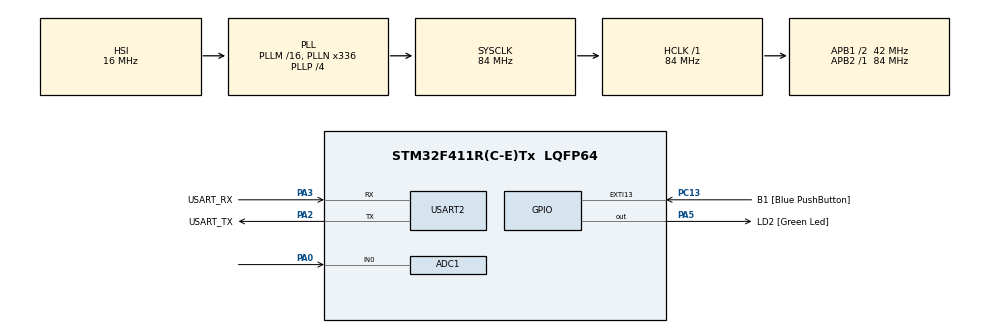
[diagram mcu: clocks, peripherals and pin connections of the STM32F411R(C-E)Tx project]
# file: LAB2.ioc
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ADC1.Channel-1\#ChannelRegularConversion=ADC_CHANNEL_0
ADC1.Channel-2\#ChannelRegularConversion=ADC_CHANNEL_TEMPSENSOR
ADC1.ContinuousConvMode=ENABLE
ADC1.DMAContinuousRequests=ENABLE
ADC1.EOCSelection=ADC_EOC_SEQ_CONV
ADC1.NbrOfConversion=2
ADC1.NbrOfConversionFlag=1
ADC1.Rank-1\#ChannelRegularConversion=1
ADC1.Rank-2\#ChannelRegularConversion=2
ADC1.SamplingTime-1\#ChannelRegularConversion=ADC_SAMPLETIME_112CYCLES
ADC1.SamplingTime-2\#ChannelRegularConversion=ADC_SAMPLETIME_112CYCLES
ADC1.ScanConvMode=ENABLE
ADC1.master=1
Dma.ADC1.0.Direction=DMA_PERIPH_TO_MEMORY
Dma.ADC1.0.FIFOMode=DMA_FIFOMODE_DISABLE
Dma.ADC1.0.Instance=DMA2_Stream0
Dma.ADC1.0.MemDataAlignment=DMA_MDATAALIGN_HALFWORD
Dma.ADC1.0.MemInc=DMA_MINC_ENABLE
Dma.ADC1.0.Mode=DMA_CIRCULAR
Dma.ADC1.0.PeriphDataAlignment=DMA_PDATAALIGN_HALFWORD
Dma.ADC1.0.PeriphInc=DMA_PINC_DISABLE
Dma.ADC1.0.Priority=DMA_PRIORITY_LOW
Dma.Request0=ADC1
Mcu.Family=STM32F4
Mcu.Name=STM32F411R(C-E)Tx
Mcu.Package=LQFP64
NVIC.ADC_IRQn=true\:0\:0\:false\:false\:true\:true\:true\:true
NVIC.DMA2_Stream0_IRQn=true\:0\:0\:false\:false\:true\:false\:true\:true
NVIC.PriorityGroup=NVIC_PRIORITYGROUP_0
PA0-WKUP.Signal=ADCx_IN0
PA13.GPIO_Label=TMS
PA13.Mode=Serial_Wire
PA13.Signal=SYS_JTMS-SWDIO
PA14.GPIO_Label=TCK
PA14.Mode=Serial_Wire
PA14.Signal=SYS_JTCK-SWCLK
PA2.GPIO_Label=USART_TX
PA2.Mode=Asynchronous
PA2.Signal=USART2_TX
PA3.GPIO_Label=USART_RX
PA3.Mode=Asynchronous
PA3.Signal=USART2_RX
PA5.GPIO_Label=LD2 [Green Led]
PA5.Signal=GPIO_Output
PB3.GPIO_Label=SWO
PB3.Signal=SYS_JTDO-SWO
PC13-ANTI_TAMP.GPIO_Label=B1 [Blue PushButton]
PC13-ANTI_TAMP.GPIO_ModeDefaultEXTI=GPIO_MODE_IT_FALLING
PC13-ANTI_TAMP.Signal=GPXTI13
PC14-OSC32_IN.Mode=LSE-External-Oscillator
PC14-OSC32_IN.Signal=RCC_OSC32_IN
PC15-OSC32_OUT.Mode=LSE-External-Oscillator
PC15-OSC32_OUT.Signal=RCC_OSC32_OUT
PH0\ -\ OSC_IN.Mode=HSE-External-Clock-Source
PH0\ -\ OSC_IN.Signal=RCC_OSC_IN
PH1\ -\ OSC_OUT.Mode=HSE-External-Clock-Source
PH1\ -\ OSC_OUT.Signal=RCC_OSC_OUT
ProjectManager.HeapSize=0x200
ProjectManager.StackSize=0x400
ProjectManager.TargetToolchain=STM32CubeIDE
RCC.48MHZClocksFreq_Value=84000000
RCC.AHBFreq_Value=84000000
RCC.APB1CLKDivider=RCC_HCLK_DIV2
RCC.APB1Freq_Value=42000000
RCC.APB1TimFreq_Value=84000000
RCC.APB2Freq_Value=84000000
RCC.APB2TimFreq_Value=84000000
RCC.CortexFreq_Value=84000000
RCC.FLatency-AdvancedSettings=FLASH_LATENCY_2
RCC.HCLKFreq_Value=84000000
RCC.HSE_VALUE=8000000
RCC.HSI_VALUE=16000000
RCC.PLLN=336
RCC.PLLP=RCC_PLLP_DIV4
RCC.SYSCLKFreq_VALUE=84000000
RCC.SYSCLKSource=RCC_SYSCLKSOURCE_PLLCLK
RCC.VCOOutputFreq_Value=336000000
SH.ADCx_IN0.0=ADC1_IN0,IN0
USART2.VirtualMode=VM_ASYNC
VP_ADC1_TempSens_Input.Mode=IN-TempSens
board=NUCLEO-F411RE

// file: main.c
/* USER CODE BEGIN Header */
/**
  ******************************************************************************
  * @file           : main.c
  * @brief          : Main program body
  ******************************************************************************
  * @attention
  *
  * Copyright (c) 2023 STMicroelectronics.
  * All rights reserved.
  *
  * This software is licensed under terms that can be found in the LICENSE file
  * in the root directory of this software component.
  * If no LICENSE file comes with this software, it is provided AS-IS.
  *
  ******************************************************************************
  */
/* USER CODE END Header */
#include "main.h"

ADC_HandleTypeDef hadc1;
DMA_HandleTypeDef hdma_adc1;

UART_HandleTypeDef huart2;

/* USER CODE BEGIN PV */

typedef struct{
	uint16_t ADC_IN0;
	uint16_t TempSensor;
}DMA_ADC_BufferType;

DMA_ADC_BufferType buffer[10];

uint16_t avrTemp = 0;
uint16_t avrIN0 = 0;
uint16_t realtemp = 0;
uint16_t realmV = 0;

/* USER CODE END PV */

void SystemClock_Config(void);
static void MX_GPIO_Init(void);
static void MX_DMA_Init(void);
static void MX_USART2_UART_Init(void);
static void MX_ADC1_Init(void);
/* USER CODE BEGIN PFP */
void CalcuADC();
/* USER CODE END PFP */

int main(void)
{

  /* MCU Configuration--------------------------------------------------------*/

  /* Reset of all peripherals, Initializes the Flash interface and the Systick. */
  HAL_Init();

  /* Configure the system clock */
  SystemClock_Config();

  /* Initialize all configured peripherals */
  MX_GPIO_Init();
  MX_DMA_Init();
  MX_USART2_UART_Init();
  MX_ADC1_Init();

  /* Infinite loop */
  /* USER CODE BEGIN WHILE */
  HAL_ADC_Start_DMA(&hadc1,(uint32_t*)buffer, 20);
  while (1)
  {
    /* USER CODE END WHILE */

    /* USER CODE BEGIN 3 */
	  static uint32_t timestamp1 =0;
	  if(HAL_GetTick() >= timestamp1){
		  timestamp1 += 1000;
		  CalcuADC();
		  //HAL_GPIO_TogglePin(GPIOA, GPIO_PIN_5);
	  }
  }
  /* USER CODE END 3 */
}

void SystemClock_Config(void)
{
  RCC_OscInitTypeDef RCC_OscInitStruct = {0};
  RCC_ClkInitTypeDef RCC_ClkInitStruct = {0};

  /** Configure the main internal regulator output voltage
  */
  __HAL_RCC_PWR_CLK_ENABLE();
  __HAL_PWR_VOLTAGESCALING_CONFIG(PWR_REGULATOR_VOLTAGE_SCALE1);

  /** Initializes the RCC Oscillators according to the specified parameters
  * in the RCC_OscInitTypeDef structure.
  */
  RCC_OscInitStruct.OscillatorType = RCC_OSCILLATORTYPE_HSI;
  RCC_OscInitStruct.HSIState = RCC_HSI_ON;
  RCC_OscInitStruct.HSICalibrationValue = RCC_HSICALIBRATION_DEFAULT;
  RCC_OscInitStruct.PLL.PLLState = RCC_PLL_ON;
  RCC_OscInitStruct.PLL.PLLSource = RCC_PLLSOURCE_HSI;
  RCC_OscInitStruct.PLL.PLLM = 16;
  RCC_OscInitStruct.PLL.PLLN = 336;
  RCC_OscInitStruct.PLL.PLLP = RCC_PLLP_DIV4;
  RCC_OscInitStruct.PLL.PLLQ = 4;
  if (HAL_RCC_OscConfig(&RCC_OscInitStruct) != HAL_OK)
  {
    Error_Handler();
  }

  /** Initializes the CPU, AHB and APB buses clocks
  */
  RCC_ClkInitStruct.ClockType = RCC_CLOCKTYPE_HCLK|RCC_CLOCKTYPE_SYSCLK
                              |RCC_CLOCKTYPE_PCLK1|RCC_CLOCKTYPE_PCLK2;
  RCC_ClkInitStruct.SYSCLKSource = RCC_SYSCLKSOURCE_PLLCLK;
  RCC_ClkInitStruct.AHBCLKDivider = RCC_SYSCLK_DIV1;
  RCC_ClkInitStruct.APB1CLKDivider = RCC_HCLK_DIV2;
  RCC_ClkInitStruct.APB2CLKDivider = RCC_HCLK_DIV1;

  if (HAL_RCC_ClockConfig(&RCC_ClkInitStruct, FLASH_LATENCY_2) != HAL_OK)
  {
    Error_Handler();
  }
}

static void MX_ADC1_Init(void)
{

  ADC_ChannelConfTypeDef sConfig = {0};

  /** Configure the global features of the ADC (Clock, Resolution, Data Alignment and number of conversion)
  */
  hadc1.Instance = ADC1;
  hadc1.Init.ClockPrescaler = ADC_CLOCK_SYNC_PCLK_DIV4;
  hadc1.Init.Resolution = ADC_RESOLUTION_12B;
  hadc1.Init.ScanConvMode = ENABLE;
  hadc1.Init.ContinuousConvMode = ENABLE;
  hadc1.Init.DiscontinuousConvMode = DISABLE;
  hadc1.Init.ExternalTrigConvEdge = ADC_EXTERNALTRIGCONVEDGE_NONE;
  hadc1.Init.ExternalTrigConv = ADC_SOFTWARE_START;
  hadc1.Init.DataAlign = ADC_DATAALIGN_RIGHT;
  hadc1.Init.NbrOfConversion = 2;
  hadc1.Init.DMAContinuousRequests = ENABLE;
  hadc1.Init.EOCSelection = ADC_EOC_SEQ_CONV;
  if (HAL_ADC_Init(&hadc1) != HAL_OK)
  {
    Error_Handler();
  }

  /** Configure for the selected ADC regular channel its corresponding rank in the sequencer and its sample time.
  */
  sConfig.Channel = ADC_CHANNEL_0;
  sConfig.Rank = 1;
  sConfig.SamplingTime = ADC_SAMPLETIME_112CYCLES;
  if (HAL_ADC_ConfigChannel(&hadc1, &sConfig) != HAL_OK)
  {
    Error_Handler();
  }

  /** Configure for the selected ADC regular channel its corresponding rank in the sequencer and its sample time.
  */
  sConfig.Channel = ADC_CHANNEL_TEMPSENSOR;
  sConfig.Rank = 2;
  if (HAL_ADC_ConfigChannel(&hadc1, &sConfig) != HAL_OK)
  {
    Error_Handler();
  }

}

static void MX_USART2_UART_Init(void)
{

  huart2.Instance = USART2;
  huart2.Init.BaudRate = 115200;
  huart2.Init.WordLength = UART_WORDLENGTH_8B;
  huart2.Init.StopBits = UART_STOPBITS_1;
  huart2.Init.Parity = UART_PARITY_NONE;
  huart2.Init.Mode = UART_MODE_TX_RX;
  huart2.Init.HwFlowCtl = UART_HWCONTROL_NONE;
  huart2.Init.OverSampling = UART_OVERSAMPLING_16;
  if (HAL_UART_Init(&huart2) != HAL_OK)
  {
    Error_Handler();
  }

}

static void MX_DMA_Init(void)
{

  /* DMA controller clock enable */
  __HAL_RCC_DMA2_CLK_ENABLE();

  /* DMA interrupt init */
  /* DMA2_Stream0_IRQn interrupt configuration */
  HAL_NVIC_SetPriority(DMA2_Stream0_IRQn, 0, 0);
  HAL_NVIC_EnableIRQ(DMA2_Stream0_IRQn);

}

static void MX_GPIO_Init(void)
{
  GPIO_InitTypeDef GPIO_InitStruct = {0};

  /* GPIO Ports Clock Enable */
  __HAL_RCC_GPIOC_CLK_ENABLE();
  __HAL_RCC_GPIOH_CLK_ENABLE();
  __HAL_RCC_GPIOA_CLK_ENABLE();
  __HAL_RCC_GPIOB_CLK_ENABLE();

  /*Configure GPIO pin Output Level */
  HAL_GPIO_WritePin(LD2_GPIO_Port, LD2_Pin, GPIO_PIN_RESET);

  /*Configure GPIO pin : B1_Pin */
  GPIO_InitStruct.Pin = B1_Pin;
  GPIO_InitStruct.Mode = GPIO_MODE_IT_FALLING;
  GPIO_InitStruct.Pull = GPIO_NOPULL;
  HAL_GPIO_Init(B1_GPIO_Port, &GPIO_InitStruct);

  /*Configure GPIO pin : LD2_Pin */
  GPIO_InitStruct.Pin = LD2_Pin;
  GPIO_InitStruct.Mode = GPIO_MODE_OUTPUT_PP;
  GPIO_InitStruct.Pull = GPIO_NOPULL;
  GPIO_InitStruct.Speed = GPIO_SPEED_FREQ_LOW;
  HAL_GPIO_Init(LD2_GPIO_Port, &GPIO_InitStruct);

}

/* USER CODE BEGIN 4 */

void CalcuADC(){
	for(int j = 0; j < 10; j++)
	{
		if(j==0){
			avrIN0 = 0;
			avrTemp = 0;
		}
		avrIN0 += buffer[j].ADC_IN0;
		avrTemp += buffer[j].TempSensor;
	}

	avrIN0 /= 10;
	avrTemp /= 10;
	//x = ((3.3*avrTemp)*1024);
	realtemp = ((((avrTemp*3.3)/4096)-0.75)/2.5)+25+273.15;
	//298
	realmV = ((avrIN0*3.3)/4096)*1000*2;

}

/* USER CODE END 4 */

void Error_Handler(void)
{
  __disable_irq();
  while (1)
  {
  }
}
